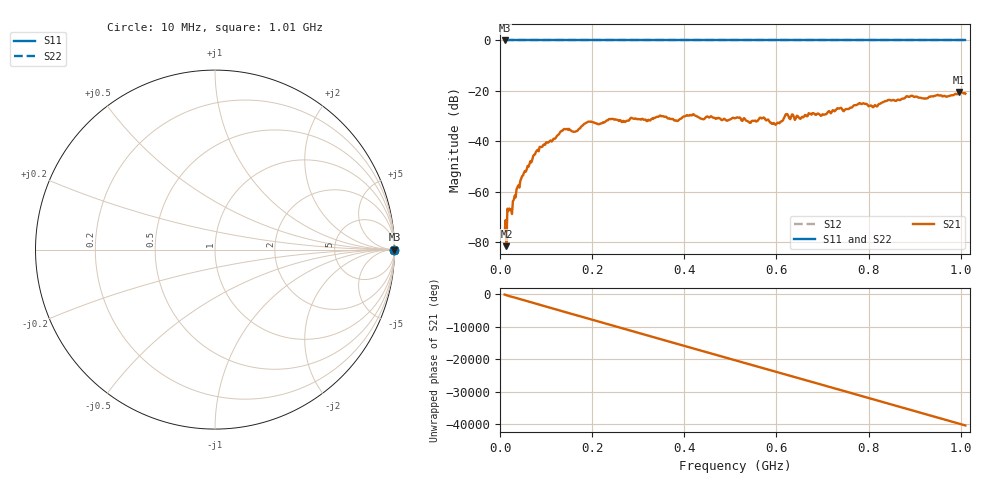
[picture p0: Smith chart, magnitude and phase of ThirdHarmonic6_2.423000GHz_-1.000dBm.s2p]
! 8/17/2025 4:08:51 AM
! C:\ANRITSUVNA\TEMP\TEMP.S2P
! CHANNEL.1
! TR.MEASUREMENT
! RAW.DATA
! RF.CORRECTION.OFF
! AVERAGING.OFF
! IF.BANDWIDTH: 5KHZ
! SWEEPTYPE:  FREQ.SWEEP(Linear)
! Reference Plane Port Info
! PORT:  PORT1  PORT2
! DISTANCE:  0  m  0  m
! TIME:  0  s  0  s
! PHASE.OFFSET:  0  deg.  0  deg.
! LOSS:  0  dB  0  dB
! REF.LOSS:  0  dB  0  dB
! REF.FREQ:  0  Hz  0  Hz
! Power Info
! POWER:  -20  dBm  -20  dBm
! EFF.POWER:  -20  dBm  -20  dBm
! SOURCE.ATTEN:  0  dB  0  dB
! TEST.ATTEN:  0  dB  0  dB
# GHZ S RI R 50.0
! FREQ.GHZ  S11RE  S11IM  S21RE  S21IM  S12RE  S12IM  S22RE  S22IM
!; PortSelection: Port_12
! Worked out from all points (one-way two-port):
!   501 points, 10 MHz to 1.01 GHz, reference 50 ohm
!   highest |S21| = -20.49 dB at 996 MHz (marker M1); lowest = -81.7 dB at 14 MHz (marker M2)
!   lowest |S11| = 0.0 dB at 10 MHz (marker M3)
!   |S11| at or under -10 dB: nowhere
!   |S22| runs from 0.0 to 0.0 dB; largest |S21 - S12| = 1.1
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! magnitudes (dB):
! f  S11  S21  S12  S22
! 10 MHz  0.0  -77.1  0.0  0.0
! 14 MHz  0.0  -81.7  0.0  0.0
! 20 MHz  0.0  -66.8  0.0  0.0
! 26 MHz  0.0  -68.9  0.0  0.0
! 48 MHz  0.0  -53.9  0.0  0.0
! 78 MHz  0.0  -44.2  0.0  0.0
! 136 MHz  0.0  -35.8  0.0  0.0
! 164 MHz  0.0  -36.2  0.0  0.0
! 178 MHz  0.0  -34.0  0.0  0.0
! 344 MHz  0.0  -30.3  0.0  0.0
! 382 MHz  0.0  -31.7  0.0  0.0
! 416 MHz  0.0  -29.8  0.0  0.0
! 510 MHz  0.0  -30.9  0.0  0.0
! 542 MHz  0.0  -32.7  0.0  0.0
! 570 MHz  0.0  -30.9  0.0  0.0
! 596 MHz  0.0  -33.2  0.0  0.0
! 622 MHz  0.0  -29.2  0.0  0.0
! 654 MHz  0.0  -30.6  0.0  0.0
! 678 MHz  0.0  -28.9  0.0  0.0
! 844 MHz  0.0  -23.6  0.0  0.0
! 996 MHz  0.0  -20.5  0.0  0.0
! 1.01 GHz  0.0  -21.1  0.0  0.0
